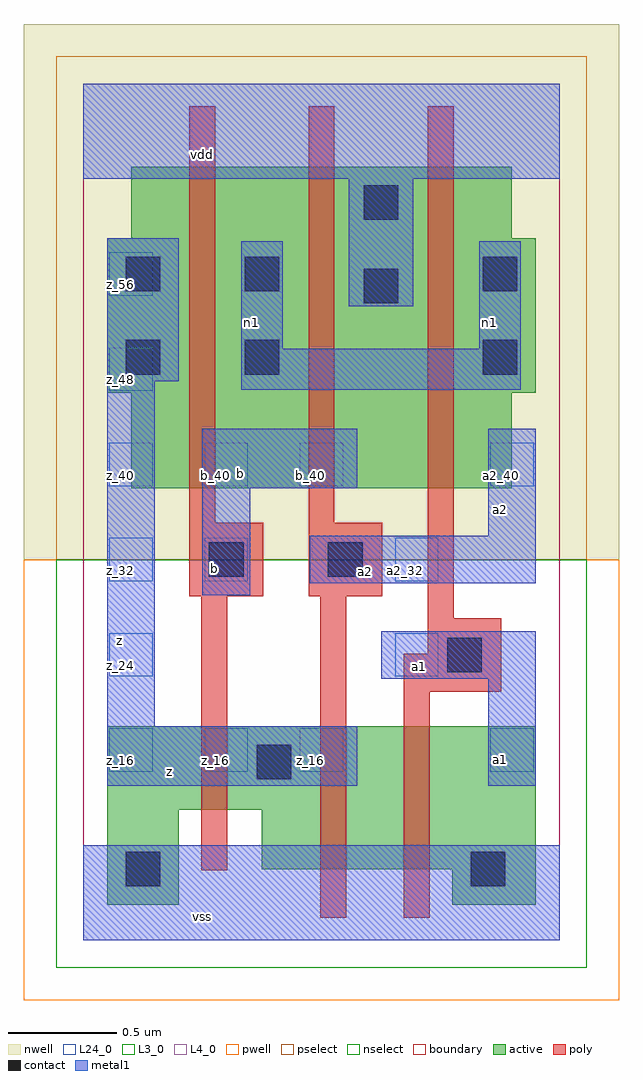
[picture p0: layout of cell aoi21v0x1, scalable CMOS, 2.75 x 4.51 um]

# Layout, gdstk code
import gdstk
lib = gdstk.Library(unit=1e-6, precision=2.5e-09)
def R(c, l, rs):  # rectangles x0, y0, x1, y1
    for r in rs: c.add(gdstk.rectangle(r[:2], r[2:], *l))
def A(c, l, x, y, w, h, nx, ny, dx, dy):  # array of equal rectangles
    R(c, l, [(x+i*dx, y+j*dy, x+i*dx+w, y+j*dy+h) for i in range(nx) for j in range(ny)])
L3_0 = (3, 0)
L4_0 = (4, 0)
L24_0 = (24, 0)
contact = (25, 0)
pwell = (41, 0)
nwell = (42, 0)
active = (43, 0)
pselect = (44, 0)
nselect = (45, 0)
poly = (46, 0)
metal1 = (49, 0)
boundary = (63, 0)

aoi21v0x1 = lib.new_cell('aoi21v0x1')
R(aoi21v0x1, L3_0, [(0.11,0.165,0.44,0.605), (1.705,0.165,2.09,0.33), (0.825,0.33,2.09,0.605), (0.11,0.605,2.09,0.99)])
R(aoi21v0x1, L4_0, [(0.22,2.09,1.98,2.53), (0.11,2.53,2.09,3.245), (0.22,3.245,1.98,3.575)])
A(aoi21v0x1, L24_0, 0.12, 0.78, 0.2, 0.2, 3, 2, 0.44, 1.32)
R(aoi21v0x1, L24_0, [(1.88,0.78,2.08,0.98), (0.12,1.22,0.32,1.42), (1.44,1.22,1.64,1.42), (0.12,1.66,0.32,1.86), (0.56,1.66,0.76,1.86), (1.44,1.66,1.64,1.86), (1.88,2.1,2.08,2.3), (0.12,2.54,0.32,2.74), (0.12,2.98,0.32,3.18)])
R(aoi21v0x1, contact, [(0.195,0.25,0.355,0.41), (1.79,0.25,1.95,0.41), (0.8,0.745,0.96,0.905), (1.68,1.24,1.84,1.4), (0.58,1.68,0.74,1.84), (1.13,1.68,1.29,1.84), (0.195,2.615,0.355,2.775), (0.745,2.615,0.905,2.775), (1.845,2.615,2.005,2.775), (1.295,2.945,1.455,3.105), (0.195,3,0.355,3.16), (0.745,3,0.905,3.16), (1.845,3,2.005,3.16), (1.295,3.33,1.455,3.49)])
R(aoi21v0x1, pwell, [(-0.275,-0.275,2.475,1.76)])
R(aoi21v0x1, nwell, [(-0.275,1.76,2.475,4.235)])
R(aoi21v0x1, active, [(0.11,0.165,0.44,0.605), (1.705,0.165,2.09,0.33), (0.825,0.33,2.09,0.605), (0.11,0.605,2.09,0.99), (0.22,2.09,1.98,2.53), (0.11,2.53,2.09,3.245), (0.22,3.245,1.98,3.575)])
R(aoi21v0x1, pselect, [(-0.125,1.76,2.325,4.085)])
R(aoi21v0x1, nselect, [(-0.125,-0.125,2.325,1.76)])
R(aoi21v0x1, poly, [(1.095,0.105,1.215,1.59), (1.48,0.105,1.6,1.15), (0.545,0.325,0.665,1.59), (1.48,1.15,1.93,1.325), (1.59,1.325,1.93,1.49), (1.59,1.49,1.71,3.855), (0.49,1.59,0.83,1.93), (1.04,1.59,1.38,1.93), (0.49,1.93,0.61,3.855), (1.04,1.93,1.16,3.855)])
R(aoi21v0x1, metal1, [(0,0,2.2,0.44), (0.11,0.715,1.265,0.99), (1.87,0.715,2.09,1.21), (0.11,0.99,0.33,2.585), (1.375,1.21,2.09,1.43), (0.55,1.595,0.77,2.09), (1.045,1.65,2.09,1.87), (1.87,1.87,2.09,2.365), (0.55,2.09,1.265,2.365), (0.73,2.545,2.02,2.735), (0.11,2.585,0.44,3.245), (0.73,2.735,0.92,3.23), (1.83,2.735,2.02,3.23), (1.225,2.93,1.525,3.52), (0,3.52,2.2,3.96)])
R(aoi21v0x1, boundary, [(0,0,2.2,3.96)])
aoi21v0x1.add(gdstk.Label('vss', (0.55,0.11), layer=49, texttype=0))
aoi21v0x1.add(gdstk.Label('a1', (1.925,0.8375), layer=49, texttype=0))
aoi21v0x1.add(gdstk.Label('z', (0.3975,0.7825), layer=49, texttype=0))
aoi21v0x1.add(gdstk.Label('a1', (1.5525,1.265), layer=49, texttype=0))
aoi21v0x1.add(gdstk.Label('a2', (1.305,1.705), layer=49, texttype=0))
aoi21v0x1.add(gdstk.Label('a2', (1.925,1.9925), layer=49, texttype=0))
aoi21v0x1.add(gdstk.Label('b', (0.605,1.7175), layer=49, texttype=0))
aoi21v0x1.add(gdstk.Label('b', (0.7275,2.1575), layer=49, texttype=0))
aoi21v0x1.add(gdstk.Label('z', (0.165,1.3875), layer=49, texttype=0))
aoi21v0x1.add(gdstk.Label('n1', (1.8775,2.8575), layer=49, texttype=0))
aoi21v0x1.add(gdstk.Label('n1', (0.7775,2.8575), layer=49, texttype=0))
aoi21v0x1.add(gdstk.Label('vdd', (0.55,3.63), layer=49, texttype=0))
aoi21v0x1.add(gdstk.Label('z_56', (0.17,3.03), layer=24, texttype=0))
aoi21v0x1.add(gdstk.Label('z_48', (0.17,2.59), layer=24, texttype=0))
aoi21v0x1.add(gdstk.Label('z_40', (0.17,2.15), layer=24, texttype=0))
aoi21v0x1.add(gdstk.Label('z_32', (0.17,1.71), layer=24, texttype=0))
aoi21v0x1.add(gdstk.Label('z_24', (0.17,1.27), layer=24, texttype=0))
aoi21v0x1.add(gdstk.Label('z_16', (0.17,0.83), layer=24, texttype=0))
aoi21v0x1.add(gdstk.Label('a2_40', (1.93,2.15), layer=24, texttype=0))
aoi21v0x1.add(gdstk.Label('a1_16', (1.93,0.83), layer=24, texttype=0))
aoi21v0x1.add(gdstk.Label('a2_32', (1.49,1.71), layer=24, texttype=0))
aoi21v0x1.add(gdstk.Label('a1_24', (1.49,1.27), layer=24, texttype=0))
aoi21v0x1.add(gdstk.Label('b_40', (1.05,2.15), layer=24, texttype=0))
aoi21v0x1.add(gdstk.Label('z_16', (1.05,0.83), layer=24, texttype=0))
aoi21v0x1.add(gdstk.Label('b_40', (0.61,2.15), layer=24, texttype=0))
aoi21v0x1.add(gdstk.Label('b_32', (0.61,1.71), layer=24, texttype=0))
aoi21v0x1.add(gdstk.Label('z_16', (0.61,0.83), layer=24, texttype=0))

lib.write_gds('aoi21v0x1.gds')
